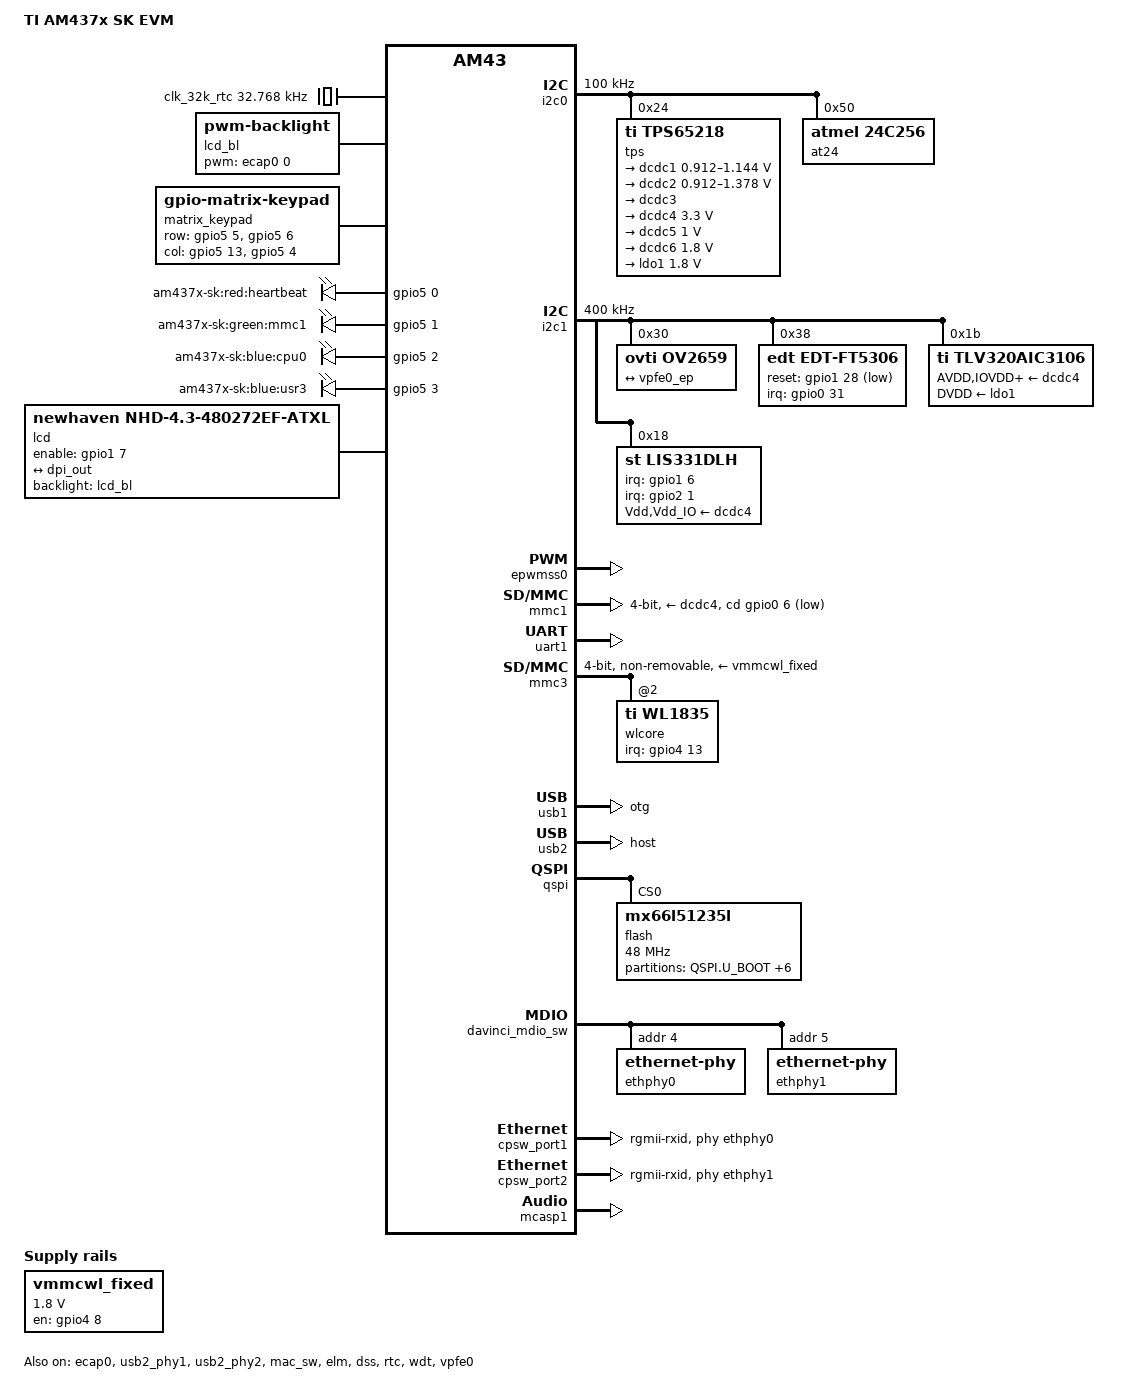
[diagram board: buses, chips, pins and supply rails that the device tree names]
// SPDX-License-Identifier: GPL-2.0-only
/*
 * Copyright (C) 2014 Texas Instruments Incorporated - https://www.ti.com/
 */

/* AM437x SK EVM */

/dts-v1/;

#include "am4372.dtsi"
#include <dt-bindings/pinctrl/am43xx.h>
#include <dt-bindings/pwm/pwm.h>
#include <dt-bindings/gpio/gpio.h>
#include <dt-bindings/input/input.h>
#include <dt-bindings/interrupt-controller/irq.h>

/ {
	model = "TI AM437x SK EVM";
	compatible = "ti,am437x-sk-evm","ti,am4372","ti,am43";

	aliases {
		display0 = &lcd0;
	};

	chosen {
		stdout-path = &uart0;
	};

	/* fixed 32k external oscillator clock */
	clk_32k_rtc: clk_32k_rtc {
		#clock-cells = <0>;
		compatible = "fixed-clock";
		clock-frequency = <32768>;
	};

	lcd_bl: backlight {
		compatible = "pwm-backlight";
		pwms = <&ecap0 0 50000 PWM_POLARITY_INVERTED>;
		brightness-levels = <0 51 53 56 62 75 101 152 255>;
		default-brightness-level = <8>;
	};

	sound {
		compatible = "simple-audio-card";
		simple-audio-card,name = "AM437x-SK-EVM";
		simple-audio-card,widgets =
			"Headphone", "Headphone Jack",
			"Line", "Line In";
		simple-audio-card,routing =
			"Headphone Jack",	"HPLOUT",
			"Headphone Jack",	"HPROUT",
			"LINE1L",		"Line In",
			"LINE1R",		"Line In";
		simple-audio-card,format = "dsp_b";
		simple-audio-card,bitclock-master = <&sound_master>;
		simple-audio-card,frame-master = <&sound_master>;
		simple-audio-card,bitclock-inversion;

		simple-audio-card,cpu {
			sound-dai = <&mcasp1>;
		};

		sound_master: simple-audio-card,codec {
			sound-dai = <&tlv320aic3106>;
			system-clock-frequency = <24000000>;
		};
	};

	matrix_keypad: matrix_keypad0 {
		compatible = "gpio-matrix-keypad";

		pinctrl-names = "default";
		pinctrl-0 = <&matrix_keypad_pins>;

		debounce-delay-ms = <5>;
		col-scan-delay-us = <5>;

		row-gpios = <&gpio5 5 GPIO_ACTIVE_HIGH		/* Bank5, pin5 */
				&gpio5 6 GPIO_ACTIVE_HIGH>;	/* Bank5, pin6 */

		col-gpios = <&gpio5 13 GPIO_ACTIVE_HIGH		/* Bank5, pin13 */
				&gpio5 4 GPIO_ACTIVE_HIGH>;	/* Bank5, pin4 */

		linux,keymap = <
				MATRIX_KEY(0, 0, KEY_DOWN)
				MATRIX_KEY(0, 1, KEY_RIGHT)
				MATRIX_KEY(1, 0, KEY_LEFT)
				MATRIX_KEY(1, 1, KEY_UP)
			>;
	};

	leds {
		compatible = "gpio-leds";

		pinctrl-names = "default";
		pinctrl-0 = <&leds_pins>;

		led0 {
			label = "am437x-sk:red:heartbeat";
			gpios = <&gpio5 0 GPIO_ACTIVE_HIGH>;	/* Bank 5, pin 0 */
			linux,default-trigger = "heartbeat";
			default-state = "off";
		};

		led1 {
			label = "am437x-sk:green:mmc1";
			gpios = <&gpio5 1 GPIO_ACTIVE_HIGH>;	/* Bank 5, pin 1 */
			linux,default-trigger = "mmc0";
			default-state = "off";
		};

		led2 {
			label = "am437x-sk:blue:cpu0";
			gpios = <&gpio5 2 GPIO_ACTIVE_HIGH>;	/* Bank 5, pin 2 */
			linux,default-trigger = "cpu0";
			default-state = "off";
		};

		led3 {
			label = "am437x-sk:blue:usr3";
			gpios = <&gpio5 3 GPIO_ACTIVE_HIGH>;	/* Bank 5, pin 3 */
			default-state = "off";
		};
	};

	lcd0: display {
		compatible = "newhaven,nhd-4.3-480272ef-atxl", "panel-dpi";
		label = "lcd";

		pinctrl-names = "default";
		pinctrl-0 = <&lcd_pins>;

		backlight = <&lcd_bl>;

		enable-gpios = <&gpio1 7 GPIO_ACTIVE_HIGH>;

		port {
			lcd_in: endpoint {
				remote-endpoint = <&dpi_out>;
			};
		};
	};

	vmmcwl_fixed: fixedregulator-mmcwl {
		/*
		 * WL_EN is not SDIO standard compliant. It is an out of band
		 * signal and hard to be dealt with in a standard way by the
		 * SDIO core driver.
		 * So modelling the WL_EN line as a regulator was a natural
		 * choice as the MMC core already deals with MMC supplies.
		 */
		compatible = "regulator-fixed";
		regulator-name = "vmmcwl_fixed";
		regulator-min-microvolt = <1800000>;
		regulator-max-microvolt = <1800000>;
		gpio = <&gpio4 8 GPIO_ACTIVE_HIGH>;
		enable-active-high;
	};
};

&am43xx_pinmux {
	matrix_keypad_pins: matrix_keypad_pins {
		pinctrl-single,pins = <
			AM4372_IOPAD(0xa4c, PIN_OUTPUT | MUX_MODE7)	/* gpio5_13.gpio5_13 */
			AM4372_IOPAD(0xa50, PIN_OUTPUT | MUX_MODE7)	/* spi4_sclk.gpio5_4 */
			AM4372_IOPAD(0xa54, PIN_INPUT | MUX_MODE7)	/* spi4_d0.gpio5_5 */
			AM4372_IOPAD(0xa58, PIN_INPUT | MUX_MODE7)	/* spi4_d1.gpio5_5 */
		>;
	};

	leds_pins: leds_pins {
		pinctrl-single,pins = <
			AM4372_IOPAD(0xa28, PIN_OUTPUT | MUX_MODE7)	/* uart3_rxd.gpio5_2 */
			AM4372_IOPAD(0xa2c, PIN_OUTPUT | MUX_MODE7)	/* uart3_txd.gpio5_3 */
			AM4372_IOPAD(0xa30, PIN_OUTPUT | MUX_MODE7)	/* uart3_ctsn.gpio5_0 */
			AM4372_IOPAD(0xa34, PIN_OUTPUT | MUX_MODE7)	/* uart3_rtsn.gpio5_1 */
		>;
	};

	i2c0_pins: i2c0_pins {
		pinctrl-single,pins = <
			AM4372_IOPAD(0x988, PIN_INPUT | SLEWCTRL_FAST | MUX_MODE0)  /* i2c0_sda.i2c0_sda */
			AM4372_IOPAD(0x98c, PIN_INPUT | SLEWCTRL_FAST | MUX_MODE0)  /* i2c0_scl.i2c0_scl */
		>;
	};

	i2c1_pins: i2c1_pins {
		pinctrl-single,pins = <
			AM4372_IOPAD(0x95c, PIN_INPUT | SLEWCTRL_FAST | MUX_MODE2)  /* spi0_cs0.i2c1_scl */
			AM4372_IOPAD(0x958, PIN_INPUT | SLEWCTRL_FAST | MUX_MODE2)  /* spi0_d1.i2c1_sda  */
		>;
	};

	mmc1_pins: pinmux_mmc1_pins {
		pinctrl-single,pins = <
			AM4372_IOPAD(0x8f0, PIN_INPUT | MUX_MODE0) /* mmc0_dat3.mmc0_dat3 */
			AM4372_IOPAD(0x8f4, PIN_INPUT | MUX_MODE0) /* mmc0_dat2.mmc0_dat2 */
			AM4372_IOPAD(0x8f8, PIN_INPUT | MUX_MODE0) /* mmc0_dat1.mmc0_dat1 */
			AM4372_IOPAD(0x8fc, PIN_INPUT | MUX_MODE0) /* mmc0_dat0.mmc0_dat0 */
			AM4372_IOPAD(0x900, PIN_INPUT | MUX_MODE0) /* mmc0_clk.mmc0_clk */
			AM4372_IOPAD(0x904, PIN_INPUT | MUX_MODE0) /* mmc0_cmd.mmc0_cmd */
			AM4372_IOPAD(0x960, PIN_INPUT | MUX_MODE7) /* spi0_cs1.gpio0_6 */
		>;
	};

	ecap0_pins: backlight_pins {
		pinctrl-single,pins = <
			AM4372_IOPAD(0x964, PIN_OUTPUT | MUX_MODE0) /* eCAP0_in_PWM0_out.eCAP0_in_PWM0_out */
		>;
	};

	edt_ft5306_ts_pins: edt_ft5306_ts_pins {
		pinctrl-single,pins = <
			AM4372_IOPAD(0x874, PIN_INPUT | MUX_MODE7)	/* gpmc_wpn.gpio0_31 */
			AM4372_IOPAD(0x878, PIN_OUTPUT | MUX_MODE7)	/* gpmc_be1n.gpio1_28 */
		>;
	};

	vpfe0_pins_default: vpfe0_pins_default {
		pinctrl-single,pins = <
			AM4372_IOPAD(0x9b0, PIN_INPUT_PULLUP | MUX_MODE0)  /* cam0_hd mode 0*/
			AM4372_IOPAD(0x9b4, PIN_INPUT_PULLUP | MUX_MODE0)  /* cam0_vd mode 0*/
			AM4372_IOPAD(0x9b8, PIN_INPUT_PULLUP | MUX_MODE0)  /* cam0_field mode 0*/
			AM4372_IOPAD(0x9bc, PIN_INPUT_PULLUP | MUX_MODE0)  /* cam0_wen mode 0*/
			AM4372_IOPAD(0x9c0, PIN_INPUT_PULLUP | MUX_MODE0)  /* cam0_pclk mode 0*/
			AM4372_IOPAD(0x9c4, PIN_INPUT_PULLUP | MUX_MODE0)  /* cam0_data8 mode 0*/
			AM4372_IOPAD(0x9c8, PIN_INPUT_PULLUP | MUX_MODE0)  /* cam0_data9 mode 0*/
			AM4372_IOPAD(0xa08, PIN_INPUT_PULLUP | MUX_MODE0)  /* cam0_data0 mode 0*/
			AM4372_IOPAD(0xa0c, PIN_INPUT_PULLUP | MUX_MODE0)  /* cam0_data1 mode 0*/
			AM4372_IOPAD(0xa10, PIN_INPUT_PULLUP | MUX_MODE0)  /* cam0_data2 mode 0*/
			AM4372_IOPAD(0xa14, PIN_INPUT_PULLUP | MUX_MODE0)  /* cam0_data3 mode 0*/
			AM4372_IOPAD(0xa18, PIN_INPUT_PULLUP | MUX_MODE0)  /* cam0_data4 mode 0*/
			AM4372_IOPAD(0xa1c, PIN_INPUT_PULLUP | MUX_MODE0)  /* cam0_data5 mode 0*/
			AM4372_IOPAD(0xa20, PIN_INPUT_PULLUP | MUX_MODE0)  /* cam0_data6 mode 0*/
			AM4372_IOPAD(0xa24, PIN_INPUT_PULLUP | MUX_MODE0)  /* cam0_data7 mode 0*/
		>;
	};

	vpfe0_pins_sleep: vpfe0_pins_sleep {
		pinctrl-single,pins = <
			AM4372_IOPAD(0x9b0, DS0_PULL_UP_DOWN_EN | INPUT_EN | MUX_MODE7)
			AM4372_IOPAD(0x9b4, DS0_PULL_UP_DOWN_EN | INPUT_EN | MUX_MODE7)
			AM4372_IOPAD(0x9b8, DS0_PULL_UP_DOWN_EN | INPUT_EN | MUX_MODE7)
			AM4372_IOPAD(0x9bc, DS0_PULL_UP_DOWN_EN | INPUT_EN | MUX_MODE7)
			AM4372_IOPAD(0x9c0, DS0_PULL_UP_DOWN_EN | INPUT_EN | MUX_MODE7)
			AM4372_IOPAD(0x9c4, DS0_PULL_UP_DOWN_EN | INPUT_EN | MUX_MODE7)
			AM4372_IOPAD(0x9c8, DS0_PULL_UP_DOWN_EN | INPUT_EN | MUX_MODE7)
			AM4372_IOPAD(0xa08, DS0_PULL_UP_DOWN_EN | INPUT_EN | MUX_MODE7)
			AM4372_IOPAD(0xa0c, DS0_PULL_UP_DOWN_EN | INPUT_EN | MUX_MODE7)
			AM4372_IOPAD(0xa10, DS0_PULL_UP_DOWN_EN | INPUT_EN | MUX_MODE7)
			AM4372_IOPAD(0xa14, DS0_PULL_UP_DOWN_EN | INPUT_EN | MUX_MODE7)
			AM4372_IOPAD(0xa18, DS0_PULL_UP_DOWN_EN | INPUT_EN | MUX_MODE7)
			AM4372_IOPAD(0xa1c, DS0_PULL_UP_DOWN_EN | INPUT_EN | MUX_MODE7)
			AM4372_IOPAD(0xa20, DS0_PULL_UP_DOWN_EN | INPUT_EN | MUX_MODE7)
			AM4372_IOPAD(0xa24, DS0_PULL_UP_DOWN_EN | INPUT_EN | MUX_MODE7)
		>;
	};

	clkout1_pin: pinmux_clkout1_pin {
		pinctrl-single,pins = <
			0x270 (PIN_OUTPUT_PULLDOWN | MUX_MODE3)	/* XDMA_EVENT_INTR0/CLKOUT1 */
		>;
	};

	cpsw_default: cpsw_default {
		pinctrl-single,pins = <
			/* Slave 1 */
			AM4372_IOPAD(0x92c, PIN_OUTPUT | MUX_MODE2)	/* mii1_txclk.rmii1_tclk */
			AM4372_IOPAD(0x914, PIN_OUTPUT | MUX_MODE2)	/* mii1_txen.rgmii1_tctl */
			AM4372_IOPAD(0x928, PIN_OUTPUT | MUX_MODE2)	/* mii1_txd0.rgmii1_td0 */
			AM4372_IOPAD(0x924, PIN_OUTPUT | MUX_MODE2)	/* mii1_txd1.rgmii1_td1 */
			AM4372_IOPAD(0x920, PIN_OUTPUT | MUX_MODE2)	/* mii1_txd0.rgmii1_td2 */
			AM4372_IOPAD(0x91c, PIN_OUTPUT | MUX_MODE2)	/* mii1_txd1.rgmii1_td3 */
			AM4372_IOPAD(0x930, PIN_INPUT | MUX_MODE2)	/* mii1_rxclk.rmii1_rclk */
			AM4372_IOPAD(0x918, PIN_INPUT | MUX_MODE2)	/* mii1_rxdv.rgmii1_rctl */
			AM4372_IOPAD(0x940, PIN_INPUT | MUX_MODE2)	/* mii1_rxd0.rgmii1_rd0 */
			AM4372_IOPAD(0x93c, PIN_INPUT | MUX_MODE2)	/* mii1_rxd1.rgmii1_rd1 */
			AM4372_IOPAD(0x938, PIN_INPUT | MUX_MODE2)	/* mii1_rxd0.rgmii1_rd2 */
			AM4372_IOPAD(0x934, PIN_INPUT | MUX_MODE2)	/* mii1_rxd1.rgmii1_rd3 */

			/* Slave 2 */
			AM4372_IOPAD(0x858, PIN_OUTPUT | MUX_MODE2)	/* gpmc_a6.rgmii2_tclk */
			AM4372_IOPAD(0x840, PIN_OUTPUT | MUX_MODE2)	/* gpmc_a0.rgmii2_tctl */
			AM4372_IOPAD(0x854, PIN_OUTPUT | MUX_MODE2)	/* gpmc_a5.rgmii2_td0 */
			AM4372_IOPAD(0x850, PIN_OUTPUT | MUX_MODE2)	/* gpmc_a4.rgmii2_td1 */
			AM4372_IOPAD(0x84c, PIN_OUTPUT | MUX_MODE2)	/* gpmc_a3.rgmii2_td2 */
			AM4372_IOPAD(0x848, PIN_OUTPUT | MUX_MODE2)	/* gpmc_a2.rgmii2_td3 */
			AM4372_IOPAD(0x85c, PIN_INPUT | MUX_MODE2)	/* gpmc_a7.rgmii2_rclk */
			AM4372_IOPAD(0x844, PIN_INPUT | MUX_MODE2)	/* gpmc_a1.rgmii2_rtcl */
			AM4372_IOPAD(0x86c, PIN_INPUT | MUX_MODE2)	/* gpmc_a11.rgmii2_rd0 */
			AM4372_IOPAD(0x868, PIN_INPUT | MUX_MODE2)	/* gpmc_a10.rgmii2_rd1 */
			AM4372_IOPAD(0x864, PIN_INPUT | MUX_MODE2)	/* gpmc_a9.rgmii2_rd2 */
			AM4372_IOPAD(0x860, PIN_INPUT | MUX_MODE2)	/* gpmc_a8.rgmii2_rd3 */
		>;
	};

	cpsw_sleep: cpsw_sleep {
		pinctrl-single,pins = <
			/* Slave 1 reset value */
			AM4372_IOPAD(0x92c, PIN_INPUT_PULLDOWN | MUX_MODE7)
			AM4372_IOPAD(0x914, PIN_INPUT_PULLDOWN | MUX_MODE7)
			AM4372_IOPAD(0x928, PIN_INPUT_PULLDOWN | MUX_MODE7)
			AM4372_IOPAD(0x924, PIN_INPUT_PULLDOWN | MUX_MODE7)
			AM4372_IOPAD(0x920, PIN_INPUT_PULLDOWN | MUX_MODE7)
			AM4372_IOPAD(0x91c, PIN_INPUT_PULLDOWN | MUX_MODE7)
			AM4372_IOPAD(0x930, PIN_INPUT_PULLDOWN | MUX_MODE7)
			AM4372_IOPAD(0x918, PIN_INPUT_PULLDOWN | MUX_MODE7)
			AM4372_IOPAD(0x940, PIN_INPUT_PULLDOWN | MUX_MODE7)
			AM4372_IOPAD(0x93c, PIN_INPUT_PULLDOWN | MUX_MODE7)
			AM4372_IOPAD(0x938, PIN_INPUT_PULLDOWN | MUX_MODE7)
			AM4372_IOPAD(0x934, PIN_INPUT_PULLDOWN | MUX_MODE7)

			/* Slave 2 reset value */
			AM4372_IOPAD(0x858, PIN_INPUT_PULLDOWN | MUX_MODE7)
			AM4372_IOPAD(0x840, PIN_INPUT_PULLDOWN | MUX_MODE7)
			AM4372_IOPAD(0x854, PIN_INPUT_PULLDOWN | MUX_MODE7)
			AM4372_IOPAD(0x850, PIN_INPUT_PULLDOWN | MUX_MODE7)
			AM4372_IOPAD(0x84c, PIN_INPUT_PULLDOWN | MUX_MODE7)
			AM4372_IOPAD(0x848, PIN_INPUT_PULLDOWN | MUX_MODE7)
			AM4372_IOPAD(0x85c, PIN_INPUT_PULLDOWN | MUX_MODE7)
			AM4372_IOPAD(0x844, PIN_INPUT_PULLDOWN | MUX_MODE7)
			AM4372_IOPAD(0x86c, PIN_INPUT_PULLDOWN | MUX_MODE7)
			AM4372_IOPAD(0x868, PIN_INPUT_PULLDOWN | MUX_MODE7)
			AM4372_IOPAD(0x864, PIN_INPUT_PULLDOWN | MUX_MODE7)
			AM4372_IOPAD(0x860, PIN_INPUT_PULLDOWN | MUX_MODE7)
		>;
	};

	davinci_mdio_default: davinci_mdio_default {
		pinctrl-single,pins = <
			/* MDIO */
			AM4372_IOPAD(0x948, PIN_INPUT | SLEWCTRL_FAST | MUX_MODE0)	/* mdio_data.mdio_data */
			AM4372_IOPAD(0x94c, PIN_OUTPUT | MUX_MODE0)			/* mdio_clk.mdio_clk */
		>;
	};

	davinci_mdio_sleep: davinci_mdio_sleep {
		pinctrl-single,pins = <
			/* MDIO reset value */
			AM4372_IOPAD(0x948, PIN_INPUT_PULLDOWN | MUX_MODE7)
			AM4372_IOPAD(0x94c, PIN_INPUT_PULLDOWN | MUX_MODE7)
		>;
	};

	dss_pins: dss_pins {
		pinctrl-single,pins = <
			AM4372_IOPAD(0x820, PIN_OUTPUT | MUX_MODE1)	/* gpmc ad 8 -> DSS DATA 23 */
			AM4372_IOPAD(0x824, PIN_OUTPUT | MUX_MODE1)
			AM4372_IOPAD(0x828, PIN_OUTPUT | MUX_MODE1)
			AM4372_IOPAD(0x82c, PIN_OUTPUT | MUX_MODE1)
			AM4372_IOPAD(0x830, PIN_OUTPUT | MUX_MODE1)
			AM4372_IOPAD(0x834, PIN_OUTPUT | MUX_MODE1)
			AM4372_IOPAD(0x838, PIN_OUTPUT | MUX_MODE1)
			AM4372_IOPAD(0x83c, PIN_OUTPUT | MUX_MODE1)	/* gpmc ad 15 -> DSS DATA 16 */
			AM4372_IOPAD(0x8a0, PIN_OUTPUT | MUX_MODE0)	/* DSS DATA 0 */
			AM4372_IOPAD(0x8a4, PIN_OUTPUT | MUX_MODE0)
			AM4372_IOPAD(0x8a8, PIN_OUTPUT | MUX_MODE0)
			AM4372_IOPAD(0x8ac, PIN_OUTPUT | MUX_MODE0)
			AM4372_IOPAD(0x8b0, PIN_OUTPUT | MUX_MODE0)
			AM4372_IOPAD(0x8b4, PIN_OUTPUT | MUX_MODE0)
			AM4372_IOPAD(0x8b8, PIN_OUTPUT | MUX_MODE0)
			AM4372_IOPAD(0x8bc, PIN_OUTPUT | MUX_MODE0)
			AM4372_IOPAD(0x8c0, PIN_OUTPUT | MUX_MODE0)
			AM4372_IOPAD(0x8c4, PIN_OUTPUT | MUX_MODE0)
			AM4372_IOPAD(0x8c8, PIN_OUTPUT | MUX_MODE0)
			AM4372_IOPAD(0x8cc, PIN_OUTPUT | MUX_MODE0)
			AM4372_IOPAD(0x8d0, PIN_OUTPUT | MUX_MODE0)
			AM4372_IOPAD(0x8d4, PIN_OUTPUT | MUX_MODE0)
			AM4372_IOPAD(0x8d8, PIN_OUTPUT | MUX_MODE0)
			AM4372_IOPAD(0x8dc, PIN_OUTPUT | MUX_MODE0)	/* DSS DATA 15 */
			AM4372_IOPAD(0x8e0, PIN_OUTPUT | MUX_MODE0)	/* DSS VSYNC */
			AM4372_IOPAD(0x8e4, PIN_OUTPUT | MUX_MODE0)	/* DSS HSYNC */
			AM4372_IOPAD(0x8e8, PIN_OUTPUT | MUX_MODE0)	/* DSS PCLK */
			AM4372_IOPAD(0x8ec, PIN_OUTPUT | MUX_MODE0)	/* DSS AC BIAS EN */

		>;
	};

	qspi_pins: qspi_pins {
		pinctrl-single,pins = <
			AM4372_IOPAD(0x87c, PIN_OUTPUT | MUX_MODE3)	/* gpmc_csn0.qspi_csn */
			AM4372_IOPAD(0x888, PIN_OUTPUT | MUX_MODE2)	/* gpmc_csn3.qspi_clk */
			AM4372_IOPAD(0x890, PIN_INPUT | MUX_MODE3)	/* gpmc_advn_ale.qspi_d0 */
			AM4372_IOPAD(0x894, PIN_INPUT | MUX_MODE3)	/* gpmc_oen_ren.qspi_d1 */
			AM4372_IOPAD(0x898, PIN_INPUT | MUX_MODE3)	/* gpmc_wen.qspi_d2 */
			AM4372_IOPAD(0x89c, PIN_INPUT | MUX_MODE3)	/* gpmc_be0n_cle.qspi_d3 */
		>;
	};

	mcasp1_pins: mcasp1_pins {
		pinctrl-single,pins = <
			AM4372_IOPAD(0x90c, PIN_INPUT_PULLDOWN | MUX_MODE4)	/* mii1_crs.mcasp1_aclkx */
			AM4372_IOPAD(0x910, PIN_INPUT_PULLDOWN | MUX_MODE4)	/* mii1_rxerr.mcasp1_fsx */
			AM4372_IOPAD(0x908, PIN_OUTPUT_PULLDOWN | MUX_MODE4)	/* mii1_col.mcasp1_axr2 */
			AM4372_IOPAD(0x944, PIN_INPUT_PULLDOWN | MUX_MODE4)	/* rmii1_ref_clk.mcasp1_axr3 */
		>;
	};

	mcasp1_pins_sleep: mcasp1_pins_sleep {
		pinctrl-single,pins = <
			AM4372_IOPAD(0x90c, PIN_INPUT_PULLDOWN | MUX_MODE7)
			AM4372_IOPAD(0x910, PIN_INPUT_PULLDOWN | MUX_MODE7)
			AM4372_IOPAD(0x908, PIN_INPUT_PULLDOWN | MUX_MODE7)
			AM4372_IOPAD(0x944, PIN_INPUT_PULLDOWN | MUX_MODE7)
		>;
	};

	lcd_pins: lcd_pins {
		pinctrl-single,pins = <
			AM4372_IOPAD(0x81c, PIN_OUTPUT_PULLDOWN | MUX_MODE7) /* gpcm_ad7.gpio1_7 */
		>;
	};

	usb1_pins: usb1_pins {
		pinctrl-single,pins = <
			AM4372_IOPAD(0xac0, PIN_OUTPUT | MUX_MODE0) /* usb0_drvvbus.usb0_drvvbus */
		>;
	};

	usb2_pins: usb2_pins {
		pinctrl-single,pins = <
			AM4372_IOPAD(0xac4, PIN_OUTPUT | MUX_MODE0) /* usb0_drvvbus.usb0_drvvbus */
		>;
	};

	mmc3_pins_default: pinmux_mmc3_pins_default {
		pinctrl-single,pins = <
			AM4372_IOPAD(0x9f0, PIN_INPUT_PULLUP | MUX_MODE3) /* (AD21) cam1_data2.mmc2_clk */
			AM4372_IOPAD(0x9f4, PIN_INPUT_PULLUP | MUX_MODE3) /* (AE22) cam1_data3.mmc2_cmd */
			AM4372_IOPAD(0x9f8, PIN_INPUT_PULLUP | MUX_MODE3) /* (AD22) cam1_data4.mmc2_dat0 */
			AM4372_IOPAD(0x9fc, PIN_INPUT_PULLUP | MUX_MODE3) /* (AE23) cam1_data5.mmc2_dat1 */
			AM4372_IOPAD(0xa00, PIN_INPUT_PULLUP | MUX_MODE3) /* (AD23) cam1_data6.mmc2_dat2 */
			AM4372_IOPAD(0xa04, PIN_INPUT_PULLUP | MUX_MODE3) /* (AE24) cam1_data7.mmc2_dat3 */
		>;
	};

	mmc3_pins_sleep: pinmux_mmc3_pins_sleep {
		pinctrl-single,pins = <
			AM4372_IOPAD(0x9f0, PIN_INPUT_PULLDOWN | MUX_MODE7) /* (AD21) cam1_data2.mmc2_clk */
			AM4372_IOPAD(0x9f4, PIN_INPUT_PULLDOWN | MUX_MODE7) /* (AE22) cam1_data3.mmc2_cmd */
			AM4372_IOPAD(0x9f8, PIN_INPUT_PULLDOWN | MUX_MODE7) /* (AD22) cam1_data4.mmc2_dat0 */
			AM4372_IOPAD(0x9fc, PIN_INPUT_PULLDOWN | MUX_MODE7) /* (AE23) cam1_data5.mmc2_dat1 */
			AM4372_IOPAD(0xa00, PIN_INPUT_PULLDOWN | MUX_MODE7) /* (AD23) cam1_data6.mmc2_dat2 */
			AM4372_IOPAD(0xa04, PIN_INPUT_PULLDOWN | MUX_MODE7) /* (AE24) cam1_data7.mmc2_dat3 */
		>;
	};

	wlan_pins_default: pinmux_wlan_pins_default {
		pinctrl-single,pins = <
			AM4372_IOPAD(0x9d0, PIN_OUTPUT_PULLDOWN | MUX_MODE7)		/* cam1_data8.gpio4_8 WL_EN */
			AM4372_IOPAD(0x9e4, PIN_INPUT | WAKEUP_ENABLE | MUX_MODE7)	/* cam1_wen.gpio4_13 WL_IRQ */
		>;
	};

	wlan_pins_sleep: pinmux_wlan_pins_sleep {
		pinctrl-single,pins = <
			AM4372_IOPAD(0x9d0, PIN_OUTPUT_PULLDOWN | MUX_MODE7)		/* cam1_data8.gpio4_8 WL_EN */
			AM4372_IOPAD(0x9e4, PIN_INPUT | WAKEUP_ENABLE | MUX_MODE7)	/* cam1_wen.gpio4_13 WL_IRQ */
		>;
	};

	uart1_bt_pins_default: pinmux_uart1_bt_pins_default {
		pinctrl-single,pins = <
			AM4372_IOPAD(0x980, PIN_INPUT | MUX_MODE0)		/* uart1_rxd.uart1_rxd */
			AM4372_IOPAD(0x984, PIN_OUTPUT_PULLDOWN | MUX_MODE0)	/* uart1_txd.uart1_txd */
			AM4372_IOPAD(0x978, PIN_INPUT_PULLUP | MUX_MODE0)	/* uart1_ctsn.uart1_ctsn */
			AM4372_IOPAD(0x97c, PIN_OUTPUT_PULLDOWN | MUX_MODE0)	/* uart1_rtsn.uart1_rtsn */
			AM4372_IOPAD(0x9cc, PIN_OUTPUT_PULLDOWN | MUX_MODE7)	/* cam1_data9.gpio4_7 BT_EN */
		>;
	};

	uart1_bt_pins_sleep: pinmux_uart1_bt_pins_sleep {
		pinctrl-single,pins = <
			AM4372_IOPAD(0x980, PIN_OUTPUT_PULLDOWN | MUX_MODE7)	/* uart1_rxd.uart1_rxd */
			AM4372_IOPAD(0x984, PIN_OUTPUT_PULLDOWN | MUX_MODE7)	/* uart1_txd.uart1_txd */
			AM4372_IOPAD(0x978, PIN_OUTPUT_PULLDOWN | MUX_MODE7)	/* uart1_ctsn.uart1_ctsn */
			AM4372_IOPAD(0x97c, PIN_OUTPUT_PULLDOWN | MUX_MODE7)	/* uart1_rtsn.uart1_rtsn */
			AM4372_IOPAD(0x9cc, PIN_OUTPUT_PULLUP | MUX_MODE7)	/* cam1_data9.gpio4_7 BT_EN */
		>;
	};
};

&i2c0 {
	status = "okay";
	pinctrl-names = "default";
	pinctrl-0 = <&i2c0_pins>;
	clock-frequency = <100000>;

	tps@24 {
		compatible = "ti,tps65218";
		reg = <0x24>;
		interrupts = <GIC_SPI 7 IRQ_TYPE_LEVEL_HIGH>;
		interrupt-controller;
		#interrupt-cells = <2>;

		dcdc1: regulator-dcdc1 {
			/* VDD_CORE limits min of OPP50 and max of OPP100 */
			regulator-name = "vdd_core";
			regulator-min-microvolt = <912000>;
			regulator-max-microvolt = <1144000>;
			regulator-boot-on;
			regulator-always-on;
		};

		dcdc2: regulator-dcdc2 {
			/* VDD_MPU limits min of OPP50 and max of OPP_NITRO */
			regulator-name = "vdd_mpu";
			regulator-min-microvolt = <912000>;
			regulator-max-microvolt = <1378000>;
			regulator-boot-on;
			regulator-always-on;
		};

		dcdc3: regulator-dcdc3 {
			regulator-name = "vdds_ddr";
			regulator-boot-on;
			regulator-always-on;
			regulator-state-mem {
				regulator-on-in-suspend;
			};
			regulator-state-disk {
				regulator-off-in-suspend;
			};
		};

		dcdc4: regulator-dcdc4 {
			regulator-name = "v3_3d";
			regulator-min-microvolt = <3300000>;
			regulator-max-microvolt = <3300000>;
			regulator-boot-on;
			regulator-always-on;
		};

		dcdc5: regulator-dcdc5 {
			compatible = "ti,tps65218-dcdc5";
			regulator-name = "v1_0bat";
			regulator-min-microvolt = <1000000>;
			regulator-max-microvolt = <1000000>;
			regulator-boot-on;
			regulator-always-on;
			regulator-state-mem {
				regulator-on-in-suspend;
			};
		};

		dcdc6: regulator-dcdc6 {
			compatible = "ti,tps65218-dcdc6";
			regulator-name = "v1_8bat";
			regulator-min-microvolt = <1800000>;
			regulator-max-microvolt = <1800000>;
			regulator-boot-on;
			regulator-always-on;
			regulator-state-mem {
				regulator-on-in-suspend;
			};
		};

		ldo1: regulator-ldo1 {
			regulator-name = "v1_8d";
			regulator-min-microvolt = <1800000>;
			regulator-max-microvolt = <1800000>;
			regulator-boot-on;
			regulator-always-on;
		};

		power-button {
			compatible = "ti,tps65218-pwrbutton";
			status = "okay";
			interrupts = <3 IRQ_TYPE_EDGE_BOTH>;
		};
	};

	at24@50 {
		compatible = "atmel,24c256";
		pagesize = <64>;
		reg = <0x50>;
	};
};

&i2c1 {
	status = "okay";
	pinctrl-names = "default";
	pinctrl-0 = <&i2c1_pins>;
	clock-frequency = <400000>;

	ov2659@30 {
		compatible = "ovti,ov2659";
		reg = <0x30>;
		pinctrl-names = "default";
		pinctrl-0 = <&clkout1_pin>;

		clocks = <&clkout1_mux_ck>;
		clock-names = "xvclk";
		assigned-clocks = <&clkout1_mux_ck>;
		assigned-clock-parents = <&clkout1_osc_div_ck>;

		port {
			ov2659_1: endpoint {
				remote-endpoint = <&vpfe0_ep>;
				link-frequencies = /bits/ 64 <70000000>;
			};
		};
	};

	edt-ft5306@38 {
		status = "okay";
		compatible = "edt,edt-ft5306", "edt,edt-ft5x06";
		pinctrl-names = "default";
		pinctrl-0 = <&edt_ft5306_ts_pins>;

		reg = <0x38>;
		interrupt-parent = <&gpio0>;
		interrupts = <31 IRQ_TYPE_EDGE_FALLING>;

		reset-gpios = <&gpio1 28 GPIO_ACTIVE_LOW>;

		touchscreen-size-x = <480>;
		touchscreen-size-y = <272>;

		wakeup-source;
	};

	tlv320aic3106: tlv320aic3106@1b {
		#sound-dai-cells = <0>;
		compatible = "ti,tlv320aic3106";
		reg = <0x1b>;
		status = "okay";

		/* Regulators */
		AVDD-supply = <&dcdc4>;
		IOVDD-supply = <&dcdc4>;
		DRVDD-supply = <&dcdc4>;
		DVDD-supply = <&ldo1>;
	};

	lis331dlh@18 {
		compatible = "st,lis331dlh";
		reg = <0x18>;
		status = "okay";

		Vdd-supply = <&dcdc4>;
		Vdd_IO-supply = <&dcdc4>;
		interrupts-extended = <&gpio1 6 0>, <&gpio2 1 0>;
	};
};

&epwmss0 {
	status = "okay";
};

&ecap0 {
	status = "okay";
	pinctrl-names = "default";
	pinctrl-0 = <&ecap0_pins>;
};

&gpio0 {
	status = "okay";
};

&gpio1 {
	status = "okay";
};

&gpio4 {
	status = "okay";
};

&gpio5 {
	status = "okay";
};

&mmc1 {
	status = "okay";
	pinctrl-names = "default";
	pinctrl-0 = <&mmc1_pins>;

	vmmc-supply = <&dcdc4>;
	bus-width = <4>;
	cd-gpios = <&gpio0 6 GPIO_ACTIVE_LOW>;
};

&uart1 {
	status = "okay";
	pinctrl-names = "default", "sleep";
	pinctrl-0 = <&uart1_bt_pins_default>;
	pinctrl-1 = <&uart1_bt_pins_sleep>;
};

&mmc3 {
	status = "okay";
	/*
	 * these are on the crossbar and are outlined in the
	 * xbar-event-map element
	 */
	dmas = <&edma_xbar 30 0 1>,
		<&edma_xbar 31 0 2>;
	dma-names = "tx", "rx";
	vmmc-supply = <&vmmcwl_fixed>;
	bus-width = <4>;
	pinctrl-names = "default", "sleep";
	pinctrl-0 = <&mmc3_pins_default>;
	pinctrl-1 = <&mmc3_pins_sleep>;
	cap-power-off-card;
	keep-power-in-suspend;
	non-removable;

	#address-cells = <1>;
	#size-cells = <0>;
	wlcore: wlcore@2 {
		compatible = "ti,wl1835";
		pinctrl-names = "default", "sleep";
		pinctrl-0 = <&wlan_pins_default>;
		pinctrl-1 = <&wlan_pins_sleep>;
		reg = <2>;
		interrupt-parent = <&gpio4>;
		interrupts = <13 IRQ_TYPE_LEVEL_HIGH>;
	};
};

&usb2_phy1 {
	status = "okay";
};

&usb1 {
	dr_mode = "otg";
	status = "okay";
	pinctrl-names = "default";
	pinctrl-0 = <&usb1_pins>;
};

&usb2_phy2 {
	status = "okay";
};

&usb2 {
	dr_mode = "host";
	status = "okay";
	pinctrl-names = "default";
	pinctrl-0 = <&usb2_pins>;
};

&qspi {
	status = "okay";
	pinctrl-names = "default";
	pinctrl-0 = <&qspi_pins>;

	spi-max-frequency = <48000000>;
	flash@0 {
		compatible = "mx66l51235l";
		spi-max-frequency = <48000000>;
		reg = <0>;
		spi-cpol;
		spi-cpha;
		spi-tx-bus-width = <1>;
		spi-rx-bus-width = <4>;
		#address-cells = <1>;
		#size-cells = <1>;

		/* MTD partition table.
		 * The ROM checks the first 512KiB
		 * for a valid file to boot(XIP).
		 */
		partition@0 {
			label = "QSPI.U_BOOT";
			reg = <0x00000000 0x00080000>;
		};
		partition@1 {
			label = "QSPI.U_BOOT.backup";
			reg = <0x00080000 0x00080000>;
		};
		partition@2 {
			label = "QSPI.U-BOOT-SPL_OS";
			reg = <0x00100000 0x00010000>;
		};
		partition@3 {
			label = "QSPI.U_BOOT_ENV";
			reg = <0x00110000 0x00010000>;
		};
		partition@4 {
			label = "QSPI.U-BOOT-ENV.backup";
			reg = <0x00120000 0x00010000>;
		};
		partition@5 {
			label = "QSPI.KERNEL";
			reg = <0x00130000 0x0800000>;
		};
		partition@6 {
			label = "QSPI.FILESYSTEM";
			reg = <0x00930000 0x36D0000>;
		};
	};
};

&mac_sw {
	pinctrl-names = "default", "sleep";
	pinctrl-0 = <&cpsw_default>;
	pinctrl-1 = <&cpsw_sleep>;
	status = "okay";
};

&davinci_mdio_sw {
	pinctrl-names = "default", "sleep";
	pinctrl-0 = <&davinci_mdio_default>;
	pinctrl-1 = <&davinci_mdio_sleep>;

	ethphy0: ethernet-phy@4 {
		reg = <4>;
	};

	ethphy1: ethernet-phy@5 {
		reg = <5>;
	};
};

&cpsw_port1 {
	phy-handle = <&ethphy0>;
	phy-mode = "rgmii-rxid";
	ti,dual-emac-pvid = <1>;
};

&cpsw_port2 {
	phy-handle = <&ethphy1>;
	phy-mode = "rgmii-rxid";
	ti,dual-emac-pvid = <2>;
};

&elm {
	status = "okay";
};

&mcasp1 {
	#sound-dai-cells = <0>;
	pinctrl-names = "default", "sleep";
	pinctrl-0 = <&mcasp1_pins>;
	pinctrl-1 = <&mcasp1_pins_sleep>;

	status = "okay";

	op-mode = <0>;
	tdm-slots = <2>;
	serial-dir = <
		0 0 1 2
	>;

	tx-num-evt = <1>;
	rx-num-evt = <1>;
};

&dss {
	status = "okay";

	pinctrl-names = "default";
	pinctrl-0 = <&dss_pins>;

	port {
		dpi_out: endpoint@0 {
			remote-endpoint = <&lcd_in>;
			data-lines = <24>;
		};
	};
};

&rtc {
	clocks = <&clk_32k_rtc>, <&clk_32768_ck>;
	clock-names = "ext-clk", "int-clk";
	status = "okay";
};

&wdt {
	status = "okay";
};

&cpu {
	cpu0-supply = <&dcdc2>;
};

&vpfe0 {
	status = "okay";
	pinctrl-names = "default", "sleep";
	pinctrl-0 = <&vpfe0_pins_default>;
	pinctrl-1 = <&vpfe0_pins_sleep>;

	/* Camera port */
	port {
		vpfe0_ep: endpoint {
			remote-endpoint = <&ov2659_1>;
			ti,am437x-vpfe-interface = <0>;
			bus-width = <8>;
			hsync-active = <0>;
			vsync-active = <0>;
		};
	};
};

&wkup_m3_ipc {
	firmware-name = "am43x-evm-scale-data.bin";
};

&pruss1_mdio {
	status = "disabled";
};
